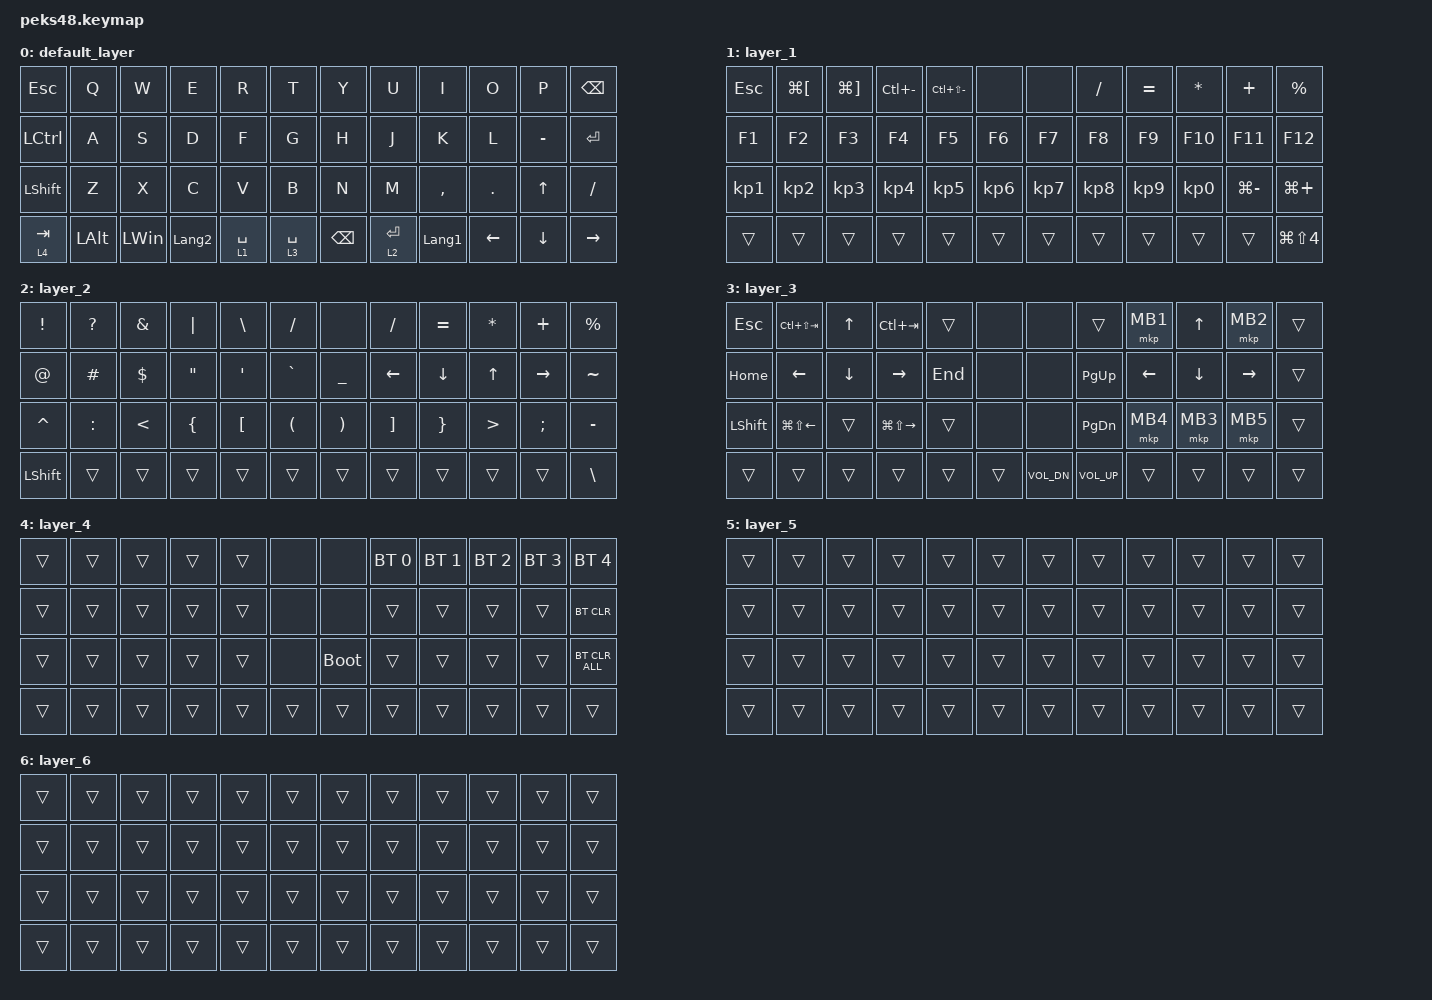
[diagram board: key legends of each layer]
#include <input/processors.dtsi>
#include <dt-bindings/zmk/input_transform.h>
#include <zephyr/dt-bindings/input/input-event-codes.h>
#include <behaviors.dtsi>
#include <dt-bindings/zmk/bt.h>
#include <dt-bindings/zmk/keys.h>
#include <dt-bindings/zmk/pointing.h>

// Conversion definition for using Japanese keyboard with OS settings

#define JP_DQUOTE       AT                // "
#define JP_AMPERSAND    CARET             // &
#define JP_QUOTE        AMPERSAND         // '
#define JP_EQUAL        UNDER             // =
#define JP_CARET        EQUAL             // ^
#define JP_YEN          0x89              // ¥
#define JP_PLUS         COLON             // +
#define JP_TILDE        PLUS              // ~
#define JP_PIPE         LS(0x89)          // |
#define JP_AT           LEFT_BRACKET      // @
#define JP_COLON        SINGLE_QUOTE      // :
#define JP_ASTERISK     DOUBLE_QUOTES     // *
#define JP_BACKQUOTE    LEFT_BRACE        // `
#define JP_UNDERSCORE   LS(0x87)          // _
#define JP_LBRACKET     RIGHT_BRACKET     // [
#define JP_RBRACKET     BACKSLASH         // ]
#define JP_LPAREN       ASTERISK          // (
#define JP_RPAREN       LEFT_PARENTHESIS  // )
#define JP_LBRACE       RIGHT_BRACE       // {
#define JP_RBRACE       PIPE              // }
#define JP_KANA         LANGUAGE_1        // かな
#define JP_EISU         LANGUAGE_2        // 英数
#define JP_HANZEN       GRAVE             // 半角/全角

/* マウス操作は一旦 trans ベースで構築 */

&mt {
    flavor = "balanced";
    quick-tap-ms = <0>; // minimal-keysに合わせる
};

/ {
    combos {
        compatible = "zmk,combos";

        // minimal-keysのコンボ設定を移植（キーポジションはpeks48用に調整）

        combo_eq {
            key-positions = <10 11>;
            bindings = <&kp EQUAL>;
        };

        combo_minus {
            key-positions = <9 10>;
            bindings = <&kp MINUS>;
        };

        quote {
            bindings = <&kp DOUBLE_QUOTES>;
            key-positions = <21 22>;
        };
    };

    macros {
        // ()を入力して左に戻る

        parenthesis: parenthesis {
            compatible = "zmk,behavior-macro";
            #binding-cells = <0>;
            bindings = <&kp LPAR &kp RPAR &kp LEFT>;
        };

        // []を入力して左に戻る

        brakets: brakets {
            compatible = "zmk,behavior-macro";
            #binding-cells = <0>;
            bindings = <&kp LBKT &kp RBKT &kp LEFT>;
        };

        // {}を入力して左に戻る

        braces: braces {
            compatible = "zmk,behavior-macro";
            #binding-cells = <0>;
            bindings = <&kp LBRC &kp RBRC &kp LEFT>;
        };
    };

    keymap {
        compatible = "zmk,keymap";

        default_layer {
            bindings = <
&kp ESCAPE  &kp Q     &kp W     &kp E           &kp R        &kp T          &kp Y          &kp U        &kp I           &kp O           &kp P           &kp BACKSPACE
&kp LCTRL   &kp A     &kp S     &kp D           &kp F        &kp G          &kp H          &kp J        &kp K           &kp L           &kp MINUS       &kp ENTER
&kp LSHIFT  &kp Z     &kp X     &kp C           &kp V        &kp B          &kp N          &kp M        &kp COMMA       &kp PERIOD      &kp UP_ARROW    &kp SLASH
&lt 4 TAB   &kp LALT  &kp LWIN  &kp LANGUAGE_2  &lt 1 SPACE  &lt 3 SPACE    &kp BACKSPACE  &lt 2 ENTER  &kp LANGUAGE_1  &kp LEFT_ARROW  &kp DOWN_ARROW  &kp RIGHT_ARROW
            >;
        };

        layer_1 {
            bindings = <
&kp ESC          &kp LG(LEFT_BRACKET)  &kp LG(RIGHT_BRACKET)  &kp LC(MINUS)    &kp LC(LS(MINUS))  &none              &none            &kp SLASH        &kp EQUAL        &kp ASTERISK     &kp PLUS       &kp PERCENT
&kp F1           &kp F2                &kp F3                 &kp F4           &kp F5             &kp F6             &kp F7           &kp F8           &kp F9           &kp F10          &kp F11        &kp F12
&kp KP_NUMBER_1  &kp KP_NUMBER_2       &kp KP_NUMBER_3        &kp KP_NUMBER_4  &kp KP_NUMBER_5    &kp KP_NUMBER_6    &kp KP_NUMBER_7  &kp KP_NUMBER_8  &kp KP_NUMBER_9  &kp KP_NUMBER_0  &kp LG(MINUS)  &kp LG(PLUS)
&trans           &trans                &trans                 &trans           &trans             &trans             &trans           &trans           &trans           &trans           &trans         &kp LG(LS(NUMBER_4))
            >;
        };

        layer_2 {
            bindings = <
&kp EXCL    &kp QUESTION  &kp AMPERSAND  &kp PIPE        &kp BACKSLASH     &kp SLASH               &none                  &kp SLASH          &kp EQUAL        &kp ASTRK         &kp PLUS       &kp PERCENT
&kp AT      &kp HASH      &kp DLLR       &kp DQT         &kp SQT           &kp GRAVE               &kp UNDERSCORE         &kp LEFT_ARROW     &kp DOWN         &kp UP            &kp RIGHT      &kp TILDE
&kp CARET   &kp COLON     &kp LESS_THAN  &kp LEFT_BRACE  &kp LEFT_BRACKET  &kp LEFT_PARENTHESIS    &kp RIGHT_PARENTHESIS  &kp RIGHT_BRACKET  &kp RIGHT_BRACE  &kp GREATER_THAN  &kp SEMICOLON  &kp MINUS
&kp LSHIFT  &trans        &trans         &trans          &trans            &trans                  &trans                 &trans             &trans           &trans            &trans         &kp BACKSLASH
            >;
        };

        layer_3 {
            bindings = <
&kp ESC     &kp LC(LS(TAB))   &kp UP    &kp LC(TAB)        &trans   &none     &none         &trans        &mkp MB1        &kp UP    &mkp MB2         &trans
&kp HOME    &kp LEFT          &kp DOWN  &kp RIGHT          &kp END  &none     &none         &kp PG_UP     &kp LEFT_ARROW  &kp DOWN  &kp RIGHT_ARROW  &trans
&kp LSHIFT  &kp LG(LS(LEFT))  &trans    &kp LG(LS(RIGHT))  &trans   &none     &none         &kp PG_DN     &mkp MB4        &mkp MB3  &mkp MB5         &trans
&trans      &trans            &trans    &trans             &trans   &trans    &kp C_VOL_DN  &kp C_VOL_UP  &trans          &trans    &trans           &trans
            >;
        };

        layer_4 {
            bindings = <
&trans  &trans  &trans  &trans  &trans  &none     &none        &bt BT_SEL 0  &bt BT_SEL 1  &bt BT_SEL 2  &bt BT_SEL 3  &bt BT_SEL 4
&trans  &trans  &trans  &trans  &trans  &none     &none        &trans        &trans        &trans        &trans        &bt BT_CLR
&trans  &trans  &trans  &trans  &trans  &none     &bootloader  &trans        &trans        &trans        &trans        &bt BT_CLR_ALL
&trans  &trans  &trans  &trans  &trans  &trans    &trans       &trans        &trans        &trans        &trans        &trans
            >;
        };

        layer_5 {
            bindings = <
&trans  &trans  &trans  &trans  &trans  &trans    &trans  &trans  &trans  &trans  &trans  &trans
&trans  &trans  &trans  &trans  &trans  &trans    &trans  &trans  &trans  &trans  &trans  &trans
&trans  &trans  &trans  &trans  &trans  &trans    &trans  &trans  &trans  &trans  &trans  &trans
&trans  &trans  &trans  &trans  &trans  &trans    &trans  &trans  &trans  &trans  &trans  &trans
            >;
        };

        layer_6 {
            bindings = <
&trans  &trans  &trans  &trans  &trans  &trans    &trans  &trans  &trans  &trans  &trans  &trans
&trans  &trans  &trans  &trans  &trans  &trans    &trans  &trans  &trans  &trans  &trans  &trans
&trans  &trans  &trans  &trans  &trans  &trans    &trans  &trans  &trans  &trans  &trans  &trans
&trans  &trans  &trans  &trans  &trans  &trans    &trans  &trans  &trans  &trans  &trans  &trans
            >;
        };
    };
};
